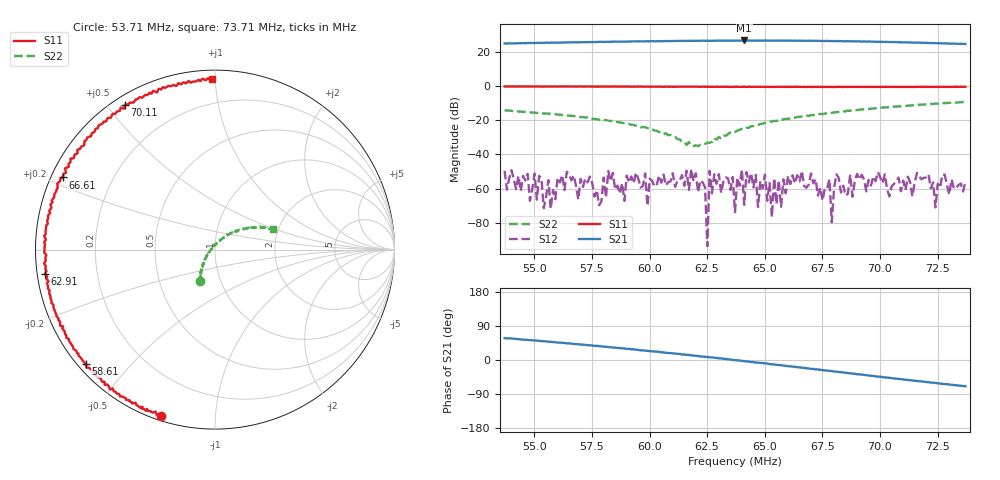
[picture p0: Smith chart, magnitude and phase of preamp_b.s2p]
# Hz S DB R 50
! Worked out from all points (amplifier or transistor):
!   201 points, 53.71 MHz to 73.71 MHz, reference 50 ohm
!   highest |S21| = 26.6 dB at 64.11 MHz (marker M1)
!   |S21| within 3 dB of that: start of sweep to end of sweep
!   unconditionally stable (mu >= 1): 64.42 MHz to 66.61 MHz; 66.61 MHz to 68.11 MHz; 69.91 MHz to end of sweep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
!   at 57.01 MHz: K = 0.80, MSG = 39.9 dB, |S12| = -54.3 dB
!   at 63.71 MHz: K = 10.73, MAG = 36.9 dB, |S12| = -73.8 dB
!   at 73.71 MHz: K = 1.69, MAG = 35.4 dB, |S12| = -55.9 dB
!   S11 on the Smith chart (normalised r, x): 53.71 MHz: 0.02, -0.73; 58.61 MHz: 0.02, -0.38; 62.91 MHz: 0.02, -0.07; 66.61 MHz: 0.03, +0.22; 70.11 MHz: 0.03, +0.56; 73.71 MHz: 0.05, +0.98
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5.371e7  -0.23 -107.9  24.91 57.9  -49.56 128.8  -14.32 -115.2
5.711e7  -0.32 -127.9  25.67 40.9  -59.03 -167.1  -18.14 -126.9
5.861e7  -0.34 -138.6  25.88 31.7  -58.22 38.2  -21.10 -131.5
6.041e7  -0.41 -151.6  26.18 21.3  -52.36 10.9  -26.89 -147.8
6.201e7  -0.42 -164.3  26.45 11.0  -51.08 49.4  -34.61 141.0
6.251e7  -0.40 -168.7  26.51 8.2  -93.67 129.2  -33.19 113.8
6.261e7  -0.50 -169.2  26.41 7.1  -49.61 79.9  -33.19 96.4
6.291e7  -0.38 -171.9  26.57 5.6  -57.16 56.2  -31.36 91.5
6.361e7  -0.53 -178.2  26.49 0.3  -53.22 38.1  -26.51 70.6
6.371e7  -0.43 -179.1  26.59 -0.1  -73.82 -20.0  -26.86 70.4
6.401e7  -0.46 178.3  26.52 -2.5  -48.79 17.7  -25.01 64.6
6.411e7  -0.42 177.5  26.65 -2.7  -69.50 143.5  -25.09 59.7
6.421e7  -0.50 176.7  26.53 -3.7  -50.36 69.7  -24.40 60.1
6.531e7  -0.45 166.9  26.59 -11.0  -76.66 -46.7  -20.80 51.6
6.661e7  -0.54 154.7  26.43 -20.4  -49.63 51.7  -17.84 45.9
6.711e7  -0.49 149.7  26.46 -23.5  -56.97 -12.5  -17.04 43.3
6.781e7  -0.56 143.2  26.27 -28.7  -54.52 -11.7  -15.61 40.6
6.791e7  -0.53 142.5  26.32 -29.1  -79.71 152.9  -15.69 39.1
6.811e7  -0.48 140.2  26.32 -30.8  -51.64 -85.0  -15.33 39.3
7.011e7  -0.44 121.9  25.89 -45.0  -56.84 -43.2  -12.63 31.1
7.041e7  -0.57 119.0  25.70 -47.2  -64.54 39.9  -12.33 30.5
7.371e7  -0.42 90.9  24.59 -69.3  -55.94 -58.6  -9.30 19.5
